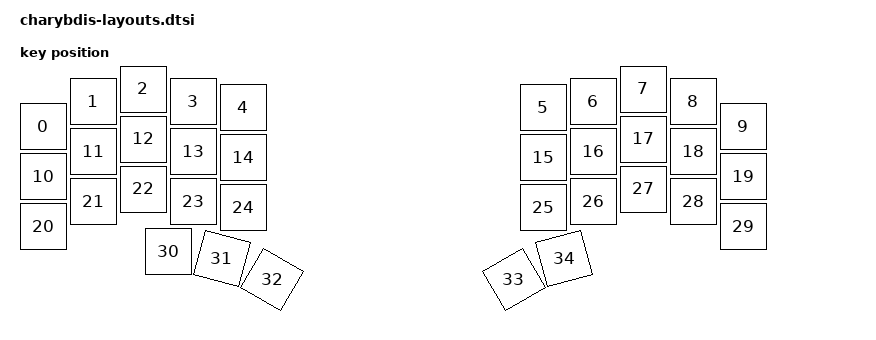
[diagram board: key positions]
#include <physical_layouts.dtsi>

/ {
    physical_layout0: physical_layout_0 {
        compatible = "zmk,physical-layout";
        display-name = "default";
        keys  //                     w   h    x    y     rot    rx    ry
            = <&key_physical_attrs 100 100  100   75       0     0     0>
            , <&key_physical_attrs 100 100  200   25       0     0     0>
            , <&key_physical_attrs 100 100  300    0       0     0     0>
            , <&key_physical_attrs 100 100  400   25       0     0     0>
            , <&key_physical_attrs 100 100  500   37       0     0     0>
            , <&key_physical_attrs 100 100 1100   37       0     0     0>
            , <&key_physical_attrs 100 100 1200   25       0     0     0>
            , <&key_physical_attrs 100 100 1300    0       0     0     0>
            , <&key_physical_attrs 100 100 1400   25       0     0     0>
            , <&key_physical_attrs 100 100 1500   75       0     0     0>
            , <&key_physical_attrs 100 100  100  175       0     0     0>
            , <&key_physical_attrs 100 100  200  125       0     0     0>
            , <&key_physical_attrs 100 100  300  100       0     0     0>
            , <&key_physical_attrs 100 100  400  125       0     0     0>
            , <&key_physical_attrs 100 100  500  137       0     0     0>
            , <&key_physical_attrs 100 100 1100  137       0     0     0>
            , <&key_physical_attrs 100 100 1200  125       0     0     0>
            , <&key_physical_attrs 100 100 1300  100       0     0     0>
            , <&key_physical_attrs 100 100 1400  125       0     0     0>
            , <&key_physical_attrs 100 100 1500  175       0     0     0>
            , <&key_physical_attrs 100 100  100  275       0     0     0>
            , <&key_physical_attrs 100 100  200  225       0     0     0>
            , <&key_physical_attrs 100 100  300  200       0     0     0>
            , <&key_physical_attrs 100 100  400  225       0     0     0>
            , <&key_physical_attrs 100 100  500  237       0     0     0>
            , <&key_physical_attrs 100 100 1100  237       0     0     0>
            , <&key_physical_attrs 100 100 1200  225       0     0     0>
            , <&key_physical_attrs 100 100 1300  200       0     0     0>
            , <&key_physical_attrs 100 100 1400  225       0     0     0>
            , <&key_physical_attrs 100 100 1500  275       0     0     0>
            , <&key_physical_attrs 100 100  350  325       0     0     0>
            , <&key_physical_attrs 100 100  350  325    1500   400   792>
            , <&key_physical_attrs 100 100  350  325    3000   400   792>
            , <&key_physical_attrs 100 100 1250  325 (-3000)  1300   792>
            , <&key_physical_attrs 100 100 1250  325 (-1500)  1300   792>
            ;
    };

};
